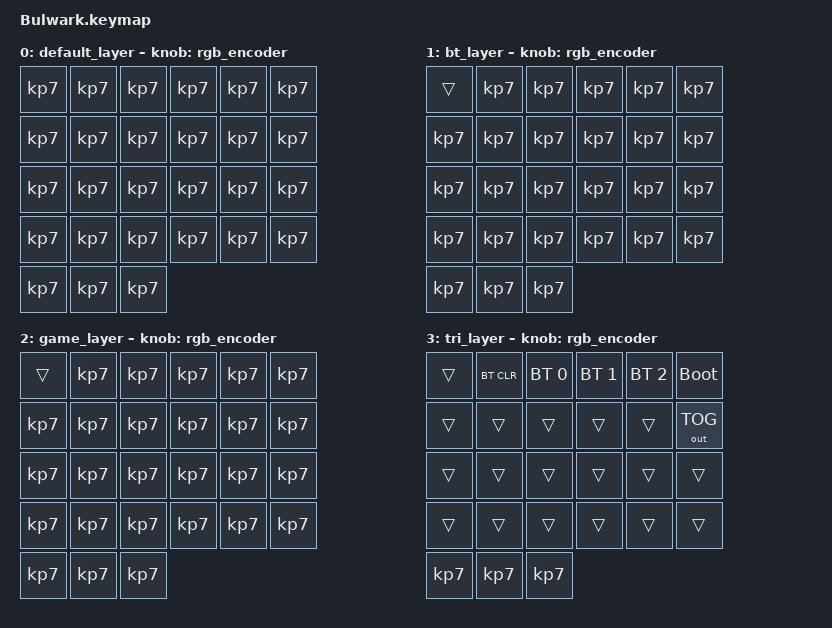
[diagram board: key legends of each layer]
#include <behaviors.dtsi>
#include <dt-bindings/zmk/keys.h>
#include <dt-bindings/zmk/bt/h>
#include <dt-bindings/zmk/ext_power.h>


/ {
    behaviors {
        rgb_encoder: rgb_encoder {
            compatible = 'zmk,behavior-sensor-rotate';
            #sensor-binding-cells = <0>;
        // this 'binding' determines the result of the sensor up and down reading
        //Multiple behaviors will need to be defined just like this
        //and then referenced in the 'keymap' functions below
            bindings = <&rgb_ug RGB_BRI>, <&rgb_ug RGB_BRD>;
        };
    };

    keymap {
        compatible = "zmk,keymap";
        
        default_layer {
        // This area is a readable layout for this specific key layer. Below it are the 'bindings' for each key
        // ---------------------------------------------------------------------------------------------------
            bindings = <
//               _____________   _____________   _____________   _____________   _____________   _____________
//              |     ###     | |     ###     | |     ###     | |     ###     | |     ###     | |     EN_#    |
                    &kp KP_N7       &kp KP_N7       &kp KP_N7       &kp KP_N7       &kp KP_N7       &kp KP_N7
//              |_____________| |_____________| |_____________| |_____________| |_____________| |_____________|
//               _____________   _____________   _____________   _____________   _____________   _____________
//              |     ###     | |     ###     | |     ###     | |     ###     | |     ###     | |     ###     |
                    &kp KP_N7       &kp KP_N7       &kp KP_N7       &kp KP_N7       &kp KP_N7       &kp KP_N7
//              |_____________| |_____________| |_____________| |_____________| |_____________| |_____________|
//               _____________   _____________   _____________   _____________   _____________   _____________
//              |     ###     | |     ###     | |     ###     | |     ###     | |     ###     | |     ###     |
                    &kp KP_N7       &kp KP_N7       &kp KP_N7       &kp KP_N7       &kp KP_N7       &kp KP_N7
//              |_____________| |_____________| |_____________| |_____________| |_____________| |_____________|
//               _____________   _____________   _____________   _____________   _____________   _____________
//              |     ###     | |     ###     | |     ###     | |     ###     | |     ###     | |     ###     |
                    &kp KP_N7       &kp KP_N7       &kp KP_N7       &kp KP_N7       &kp KP_N7       &kp KP_N7
//              |_____________| |_____________| |_____________| |_____________| |_____________| |_____________|

//       _____________   _____________   _____________
//      |     ###     | |     ###     | |     ###     |
            &kp KP_N7       &kp KP_N7       &kp KP_N7
//      |_____________| |_____________| |_____________|

            >;
            // This encoder binding is defined above in the 'behaviors' definition
            sensor-bindings = <&rgb_encoder>;
        };
        
        bt_layer {
        // This area is a readable layout for this specific key layer. Below it are the 'bindings' for each key
        // ---------------------------------------------------------------------------------------------------
            bindings = <
//               _____________   _____________   _____________   _____________   _____________   _____________
//              |     ESC     | |     ###     | |     ###     | |     ###     | |     ###     | |     EN_#    |
                    &trans         &kp KP_N7       &kp KP_N7       &kp KP_N7       &kp KP_N7       &kp KP_N7
//              |_____________| |_____________| |_____________| |_____________| |_____________| |_____________|
//               _____________   _____________   _____________   _____________   _____________   _____________
//              |     ###     | |     ###     | |     ###     | |     ###     | |     ###     | |     ###     |
                    &kp KP_N7       &kp KP_N7       &kp KP_N7       &kp KP_N7       &kp KP_N7       &kp KP_N7
//              |_____________| |_____________| |_____________| |_____________| |_____________| |_____________|
//               _____________   _____________   _____________   _____________   _____________   _____________
//              |     ###     | |     ###     | |     ###     | |     ###     | |     ###     | |     ###     |
                    &kp KP_N7       &kp KP_N7       &kp KP_N7       &kp KP_N7       &kp KP_N7       &kp KP_N7
//              |_____________| |_____________| |_____________| |_____________| |_____________| |_____________|
//               _____________   _____________   _____________   _____________   _____________   _____________
//              |     ###     | |     ###     | |     ###     | |     ###     | |     ###     | |     ###     |
                    &kp KP_N7       &kp KP_N7       &kp KP_N7       &kp KP_N7       &kp KP_N7       &kp KP_N7
//              |_____________| |_____________| |_____________| |_____________| |_____________| |_____________|

//       _____________   _____________   _____________
//      |     ###     | |     ###     | |     ###     |
            &kp KP_N7       &kp KP_N7       &kp KP_N7
//      |_____________| |_____________| |_____________|

            >;
            // This encoder binding is defined above in the 'behaviors' definition
            sensor-bindings = <&rgb_encoder>;
        };
        
        game_layer {
        // This area is a readable layout for this specific key layer. Below it are the 'bindings' for each key
        // ---------------------------------------------------------------------------------------------------
            bindings = <
//               _____________   _____________   _____________   _____________   _____________   _____________
//              |     ESC     | |     ###     | |     ###     | |     ###     | |     ###     | |     EN_#    |
                     &trans       &kp KP_N7       &kp KP_N7       &kp KP_N7       &kp KP_N7       &kp KP_N7
//              |_____________| |_____________| |_____________| |_____________| |_____________| |_____________|
//               _____________   _____________   _____________   _____________   _____________   _____________
//              |     ###     | |     ###     | |     ###     | |     ###     | |     ###     | |     ###     |
                    &kp KP_N7       &kp KP_N7       &kp KP_N7       &kp KP_N7       &kp KP_N7       &kp KP_N7
//              |_____________| |_____________| |_____________| |_____________| |_____________| |_____________|
//               _____________   _____________   _____________   _____________   _____________   _____________
//              |     ###     | |     ###     | |     ###     | |     ###     | |     ###     | |     ###     |
                    &kp KP_N7       &kp KP_N7       &kp KP_N7       &kp KP_N7       &kp KP_N7       &kp KP_N7
//              |_____________| |_____________| |_____________| |_____________| |_____________| |_____________|
//               _____________   _____________   _____________   _____________   _____________   _____________
//              |     ###     | |     ###     | |     ###     | |     ###     | |     ###     | |     ###     |
                    &kp KP_N7       &kp KP_N7       &kp KP_N7       &kp KP_N7       &kp KP_N7       &kp KP_N7
//              |_____________| |_____________| |_____________| |_____________| |_____________| |_____________|

//       _____________   _____________   _____________
//      |     ###     | |     ###     | |     ###     |
            &kp KP_N7       &kp KP_N7       &kp KP_N7
//      |_____________| |_____________| |_____________|

            >;
            // This encoder binding is defined above in the 'behaviors' definition
            sensor-bindings = <&rgb_encoder>;
        };
        
        tri_layer {
        // This layer is specifically for controller functions like Bluetooth, bootloader, etc...
        // ---------------------------------------------------------------------------------------------------
            bindings = <
//               _____________   _____________   _____________   _____________   _____________   _____________
//              |             | |   CLR BT    | |     BT_0    | |    BT_1     | |     BT_2    | |    EN_SW    |
                    &trans        &bt BT_CLR     &bt BT_SEL 0     &bt BT_SEL 1    &bt BT_SEL 2    &bootloader
//              |_____________| |_____________| |_____________| |_____________| |_____________| |_____________|
//               _____________   _____________   _____________   _____________   _____________   _____________
//              |     ###     | |     ###     | |     ###     | |     ###     | |     ###     | | Tog USB/BT  |
                    &trans           &trans          &trans          &trans          &trans       &out OUT_TOG
//              |_____________| |_____________| |_____________| |_____________| |_____________| |_____________|
//               _____________   _____________   _____________   _____________   _____________   _____________
//              |     ###     | |     ###     | |     ###     | |     ###     | |     ###     | |     ###     |
                    &trans           &trans          &trans          &trans          &trans          &trans
//              |_____________| |_____________| |_____________| |_____________| |_____________| |_____________|
//               _____________   _____________   _____________   _____________   _____________   _____________
//              |     ###     | |     ###     | |     ###     | |     ###     | |     ###     | |     ###     |
                    &trans           &trans          &trans          &trans          &trans          &trans
//              |_____________| |_____________| |_____________| |_____________| |_____________| |_____________|

//       _____________   _____________   _____________
//      |     ###     | |     ###     | |     ###     |
            &kp KP_N7       &kp KP_N7       &kp KP_N7
//      |_____________| |_____________| |_____________|

            >;
            // This encoder binding is defined above in the 'behaviors' definition
            sensor-bindings = <&rgb_encoder>;
        };
    };
};
